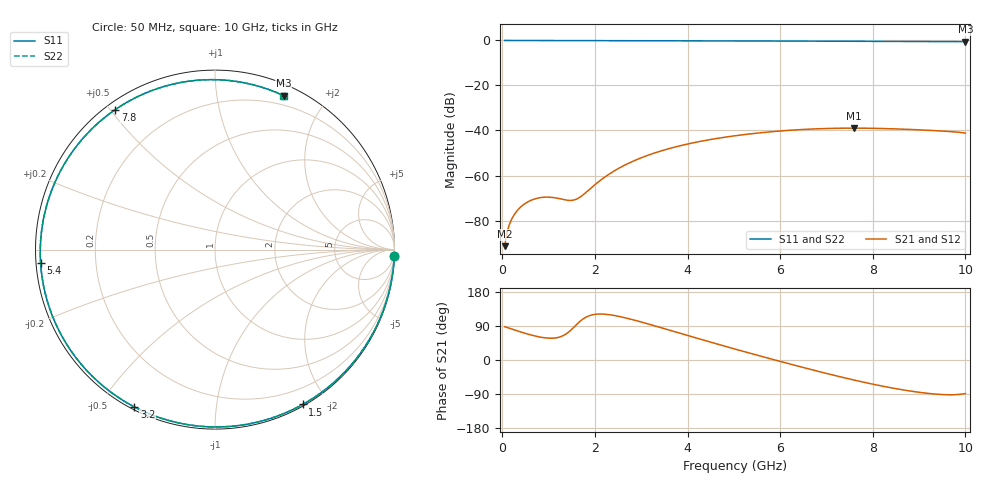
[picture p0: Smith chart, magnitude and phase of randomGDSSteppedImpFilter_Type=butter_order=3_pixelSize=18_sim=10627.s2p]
! freq	dB(S11)	phase(S11)	dB(S12)	phase(S12)
!  dB(S21)	phase(S21)	dB(S22)	phase(S22)
!S-par simulation data
#  GHz  S  DB  R 50
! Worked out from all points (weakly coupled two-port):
!   200 points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, 50 MHz to 10 GHz, reference 50 ohm
!   highest |S21| = -38.95 dB at 7.6 GHz (marker M1); lowest = -91.4 dB at 50 MHz (marker M2)
!   lowest |S11| = -0.5 dB at 10 GHz (marker M3), VSWR 31.81, Z = 5.29 + j76.8 ohm
!   |S11| at or under -10 dB: nowhere
!   |S22| runs from -0.5 to 0.0 dB; largest |S21 - S12| = 0
!   S11 on the Smith chart (normalised r, x): 50 MHz: 0, -54; 1.5 GHz: 0.02, -1.72; 3.2 GHz: 0.01, -0.61; 5.4 GHz: 0.01, -0.04; 7.8 GHz: 0.03, +0.52; 10 GHz: 0.11, +1.54
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0.05  -0.00 -2.1  -91.39 87.9  -91.39 87.9  -0.00 -2.1
0.2  -0.01 -8.4  -79.49 81.8  -79.49 81.8  -0.01 -8.4
0.3  -0.02 -12.6  -76.16 77.8  -76.16 77.8  -0.02 -12.6
0.4  -0.02 -16.7  -73.93 73.9  -73.93 73.9  -0.02 -16.7
0.7  -0.04 -29.1  -70.41 63.6  -70.41 63.6  -0.04 -29.1
1  -0.05 -41.1  -69.61 57.6  -69.61 57.6  -0.05 -41.2
1.5  -0.07 -60.5  -71.05 81.0  -71.05 81.0  -0.07 -60.5
1.75  -0.08 -69.7  -68.50 108.8  -68.50 108.8  -0.08 -69.7
2.4  -0.11 -92.2  -58.17 117.9  -58.17 117.9  -0.11 -92.2
2.75  -0.12 -103.5  -54.33 108.5  -54.33 108.5  -0.12 -103.5
3.2  -0.13 -117.2  -50.60 93.4  -50.60 93.4  -0.13 -117.2
3.4  -0.14 -123.0  -49.25 86.3  -49.25 86.3  -0.14 -123.0
4.2  -0.17 -145.1  -45.14 57.6  -45.14 57.6  -0.17 -145.1
5.05  -0.21 -166.9  -42.27 28.0  -42.27 28.0  -0.21 -166.9
5.4  -0.22 -175.5  -41.40 16.2  -41.40 16.2  -0.22 -175.5
6.05  -0.26 168.6  -40.14 -5.3  -40.14 -5.3  -0.26 168.6
6.7  -0.30 152.8  -39.34 -26.1  -39.34 -26.1  -0.30 152.8
7.6  -0.36 130.5  -38.95 -53.0  -38.95 -53.0  -0.36 130.5
7.8  -0.38 125.4  -38.97 -58.5  -38.97 -58.5  -0.38 125.5
8.35  -0.42 111.2  -39.20 -72.3  -39.20 -72.3  -0.42 111.3
9.2  -0.48 88.4  -39.91 -88.2  -39.91 -88.2  -0.48 88.4
10  -0.55 66.0  -41.15 -88.5  -41.15 -88.5  -0.55 66.1
